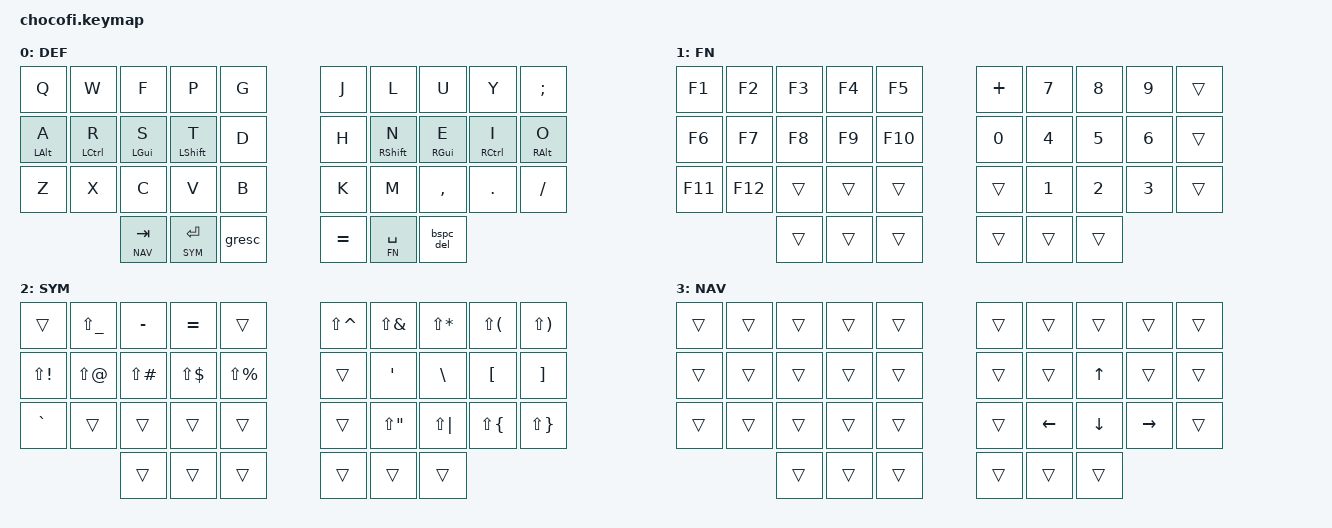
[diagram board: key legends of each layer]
#include <dt-bindings/zmk/bt.h>
#include <dt-bindings/zmk/keys.h>
#include <behaviors.dtsi>

#include "./node-free/helper.h"
#include "./node-free/keypos-36.h"

#define DEF 0
#define FN 1
#define SYM 2
#define NAV 3

#define KEYS_L LT0 LT1 LT2 LT3 LT4 LM0 LM1 LM2 LM3 LM4 LB0 LB1 LB2 LB3 LB4  // left hand
#define KEYS_R RT0 RT1 RT2 RT3 RT4 RM0 RM1 RM2 RM3 RM4 RB0 RB1 RB2 RB3 RB4  // right hand
#define THUMBS LH2 LH1 LH0 RH0 RH1 RH2                                      // thumbs

#define ___ &trans

#define MOD_MORPH(NAME, NORMAL, MORPHED, MODS, KEEP_MODS) \
        NAME: morph_ ## NAME { \
            compatible = "zmk,behavior-mod-morph"; \
            #binding-cells = <0>; \
            bindings = <NORMAL>, <MORPHED>; \
            mods = <MODS>; \
            keep-mods = <KEEP_MODS>; \
          };

// ---- combos ---- //
#undef COMBO_TERM
#define COMBO_TERM 50

ZMK_COMBO(underscore, &kp UNDERSCORE,    LT3 LT2, DEF)
ZMK_COMBO(minus,      &kp KP_MINUS,      LT2 LT1, DEF)
ZMK_COMBO(pound,      &kp POUND,         LM2 LT2, DEF)
ZMK_COMBO(dollar,     &kp DOLLAR,        LM1 LT1, DEF)

ZMK_COMBO(apostr,     &kp APOSTROPHE,    RT1 RT2, DEF)
ZMK_COMBO(dbl_quotes, &kp DOUBLE_QUOTES, RT2 RT3, DEF)

ZMK_COMBO(lbrack, &kp LBKT, RB1 RB2, DEF)
ZMK_COMBO(rbrack, &kp RBKT, RB2 RB3, DEF)
// ---------------- //

#define MAKE_HRM(NAME, TRIGGER_POS) \
        NAME: NAME { \
            compatible = "zmk,behavior-hold-tap"; \
            #binding-cells = <2>; \
            flavor = "balanced"; \
            tapping-term-ms = <280>; \
            quick-tap-ms = <200>; \
            require-prior-idle-ms = <100>; \
            bindings = <&kp>, <&kp>; \
            hold-trigger-key-positions = <TRIGGER_POS>; \
            hold-trigger-on-release; \
        };

/ {
    behaviors {
        MAKE_HRM(hrm_l, KEYS_R THUMBS)
        MAKE_HRM(hrm_r, KEYS_L THUMBS)

        /delete-node/ grave_escape; // The compiler complains otherwise that gresc is already defined
        // NOTE: almost identical to the default gresc, but sends shift with the key to also have ~
        MOD_MORPH(gresc, &kp ESC, &kp GRAVE, (MOD_LGUI | MOD_LSFT | MOD_RGUI | MOD_RSFT), (MOD_RSFT | MOD_LSFT))
        MOD_MORPH(bspc_del, &kp BACKSPACE, &kp DELETE, (MOD_LSFT | MOD_RSFT), 0)
    };

    keymap {
        compatible = "zmk,keymap";

        DEF {
            bindings = <
  &kp Q         &kp W          &kp F         &kp P          &kp G                            &kp J         &kp L           &kp U           &kp Y           &kp SEMI
  &hrm_l LALT A &hrm_l LCTRL R &hrm_l LGUI S &hrm_l LSHFT T &kp D                            &kp H         &hrm_r RSHFT N  &hrm_r RGUI E   &hrm_r RCTRL I  &hrm_r RALT O
  &kp Z         &kp X          &kp C         &kp V          &kp B                            &kp K         &kp M           &kp COMMA       &kp DOT         &kp FSLH
                                             &lt NAV TAB    &lt SYM RET  &gresc    &kp EQUAL &lt FN SPACE  &bspc_del
            >;
        };

        FN {
            bindings = <
  &kp F1   &kp F2   &kp F3  &kp F4  &kp F5     &kp PLUS &kp N7  &kp N8  &kp N9  ___   
  &kp F6   &kp F7   &kp F8  &kp F9  &kp F10    &kp N0   &kp N4  &kp N5  &kp N6  ___   
  &kp F11  &kp F12  ___     ___     ___        ___      &kp N1  &kp N2  &kp N3  ___   
                    ___     ___     ___        ___      ___     ___   
            >;
        };

        SYM {
            bindings = <
  ___           &kp LS(UNDER)  &kp MINUS      &kp EQUAL     ___              &kp LS(CARET)  &kp LS(AMPS)  &kp LS(STAR)  &kp LS(LPAR)  &kp LS(RPAR)
  &kp LS(EXCL)  &kp LS(AT)     &kp LS(POUND)  &kp LS(DLLR)  &kp LS(PRCNT)    ___            &kp SQT       &kp BSLH      &kp LBKT      &kp RBKT
  &kp GRAVE     ___            ___            ___           ___              ___            &kp LS(DQT)   &kp LS(PIPE)  &kp LS(LBRC)  &kp LS(RBRC)
                               ___            ___           ___              ___            ___           ___   
            >;
        };

        NAV {
            bindings = <
  ___  ___  ___  ___  ___           ___  ___       ___       ___        ___
  ___  ___  ___  ___  ___           ___  ___       &kp UP    ___        ___
  ___  ___  ___  ___  ___           ___  &kp LEFT  &kp DOWN  &kp RIGHT  ___
                 ___  ___  ___  ___ ___  ___   
            >;
        };
    };
};

/* vim: set filetype=devicetree commentstring=//\ %s: */
